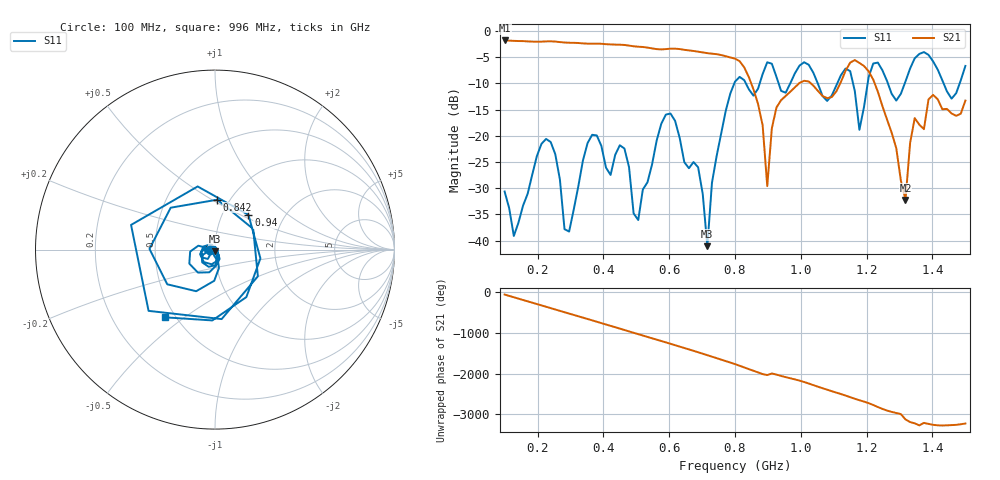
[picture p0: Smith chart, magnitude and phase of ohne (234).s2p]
! NanoVNA-App
! Date: 2025-09-25 14:22:37
! Start: 100MHz Stop: 1,5GHz Points: 101
! S-Parameter data: F S11 S21 S12 S22
# Hz S RI R 50
!  Frequency  S11_Real  S11_Imag  S21_Real  S21_Imag  S12_Real  S12_Imag  S22_Real  S22_Imag
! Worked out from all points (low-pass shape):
!   101 points, 100 MHz to 1.5 GHz, reference 50 ohm
!   highest |S21| = -1.79 dB at 100 MHz (marker M1); lowest = -32.2 dB at 1.318 GHz (marker M2)
!   |S21| within 3 dB of the highest: start of sweep to 771.4 MHz
!   lowest |S11| = -41.1 dB at 716 MHz (marker M3), VSWR 1.02, Z = 49.9 - j0.87 ohm
!   |S11| at or under -10 dB: start of sweep to 797.9 MHz; 833 MHz to 875 MHz (42 MHz wide, 4.92 % of centre); 1.052 GHz to 1.111 GHz (59.13 MHz wide, 5.47 % of centre) (the widest 3 of 7)
!   S12 and S22 are empty: the file has one direction only
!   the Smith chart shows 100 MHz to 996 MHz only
!   S11 on the Smith chart (normalised r, x): 100 MHz: 0.94, -0.01; 842 MHz: 0.88, +0.53; 940 MHz: 1.33, +0.55; 996 MHz: 0.44, -0.43
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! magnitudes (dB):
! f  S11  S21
! 100 MHz  -30.6  -1.8
! 128 MHz  -39.1  -1.9
! 226 MHz  -20.6  -2.0
! 296 MHz  -38.3  -2.2
! 338 MHz  -24.7  -2.4
! 464 MHz  -22.4  -2.7
! 506 MHz  -36.1  -3.0
! 576 MHz  -17.7  -3.5
! 688 MHz  -26.0  -3.9
! 716 MHz  -41.1  -4.2
! 800 MHz  -9.7  -5.3
! 842 MHz  -11.1  -8.8
! 898 MHz  -6.0  -29.6
! 940 MHz  -11.4  -13.2
! 996 MHz  -6.6  -9.9
! 1.038 GHz  -8.0  -10.4
! 1.164 GHz  -11.4  -5.5
! 1.178 GHz  -18.9  -6.1
! 1.276 GHz  -12.0  -19.4
! 1.318 GHz  -9.6  -32.2
! 1.346 GHz  -5.2  -16.6
! 1.5 GHz  -6.7  -13.3
